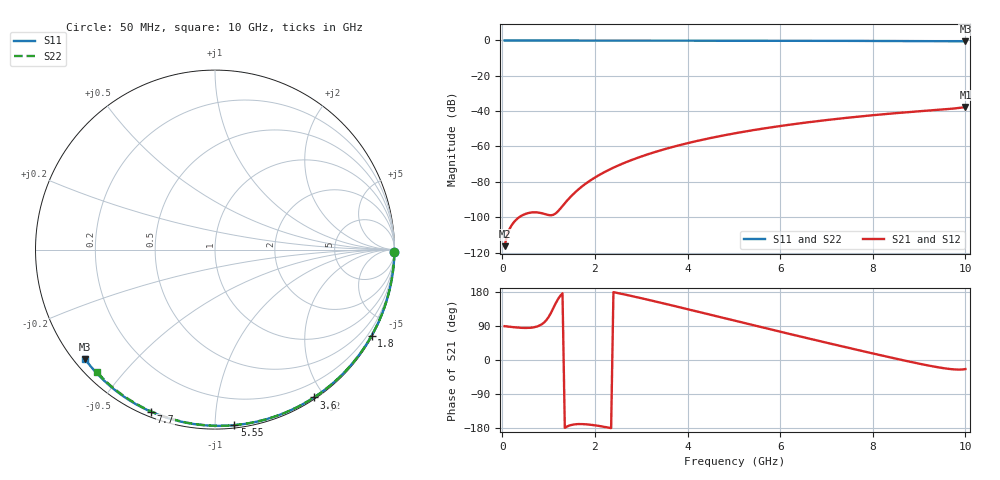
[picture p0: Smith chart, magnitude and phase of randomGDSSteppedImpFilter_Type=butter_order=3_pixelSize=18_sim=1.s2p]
! freq	dB(S11)	phase(S11)	dB(S12)	phase(S12)
!  dB(S21)	phase(S21)	dB(S22)	phase(S22)
!S-par simulation data
#  GHz  S  DB  R 50
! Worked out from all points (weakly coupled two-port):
!   200 points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, 50 MHz to 10 GHz, reference 50 ohm
!   highest |S21| = -37.62 dB at 10 GHz (marker M1); lowest = -116.4 dB at 50 MHz (marker M2)
!   lowest |S11| = -0.5 dB at 10 GHz (marker M3), VSWR 36.56, Z = 1.55 - j18.3 ohm
!   |S11| at or under -10 dB: nowhere
!   |S22| runs from -0.5 to 0.0 dB; largest |S21 - S12| = 0
!   S11 on the Smith chart (normalised r, x): 50 MHz: open; 1.8 GHz: 0.03, -3.89; 3.6 GHz: 0.02, -1.87; 5.55 GHz: 0.02, -1.12; 7.7 GHz: 0.02, -0.68; 10 GHz: 0.03, -0.37
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0.05  -0.00 -0.8  -116.41 89.3  -116.41 89.3  -0.00 -0.8
0.5  -0.01 -8.1  -98.16 84.6  -98.16 84.6  -0.01 -7.7
0.9  -0.02 -14.5  -98.09 98.6  -98.09 98.6  -0.02 -13.8
1.75  -0.04 -28.0  -82.04 -169.3  -82.04 -169.3  -0.03 -26.6
1.8  -0.04 -28.8  -81.06 -169.6  -81.06 -169.6  -0.03 -27.3
1.85  -0.04 -29.6  -80.13 -170.2  -80.13 -170.2  -0.04 -28.0
2.15  -0.04 -34.3  -75.29 -175.3  -75.29 -175.3  -0.04 -32.5
2.35  -0.05 -37.3  -72.60 -179.8  -72.60 -179.8  -0.05 -35.4
2.55  -0.05 -40.4  -70.22 175.3  -70.22 175.3  -0.05 -38.3
2.95  -0.06 -46.5  -66.13 164.5  -66.13 164.5  -0.06 -44.1
3.4  -0.07 -53.2  -62.32 151.7  -62.32 151.7  -0.07 -50.5
3.6  -0.08 -56.2  -60.82 145.9  -60.82 145.9  -0.07 -53.3
4.3  -0.09 -66.4  -56.31 125.3  -56.31 125.3  -0.09 -63.0
5.05  -0.12 -76.9  -52.41 102.9  -52.41 102.9  -0.11 -73.1
5.55  -0.14 -83.7  -50.20 88.0  -50.20 88.0  -0.13 -79.6
6.1  -0.16 -91.1  -48.05 71.8  -48.05 71.8  -0.15 -86.7
6.7  -0.19 -98.9  -45.99 54.3  -45.99 54.3  -0.18 -94.2
7.7  -0.26 -111.7  -43.07 25.7  -43.07 25.7  -0.24 -106.3
8.35  -0.31 -119.7  -41.47 7.6  -41.47 7.6  -0.29 -114.1
9  -0.37 -127.7  -40.08 -9.7  -40.08 -9.7  -0.35 -121.7
9.65  -0.43 -135.6  -38.77 -23.6  -38.77 -23.6  -0.42 -129.4
10  -0.48 -139.8  -37.62 -23.9  -37.62 -23.9  -0.50 -134.0
